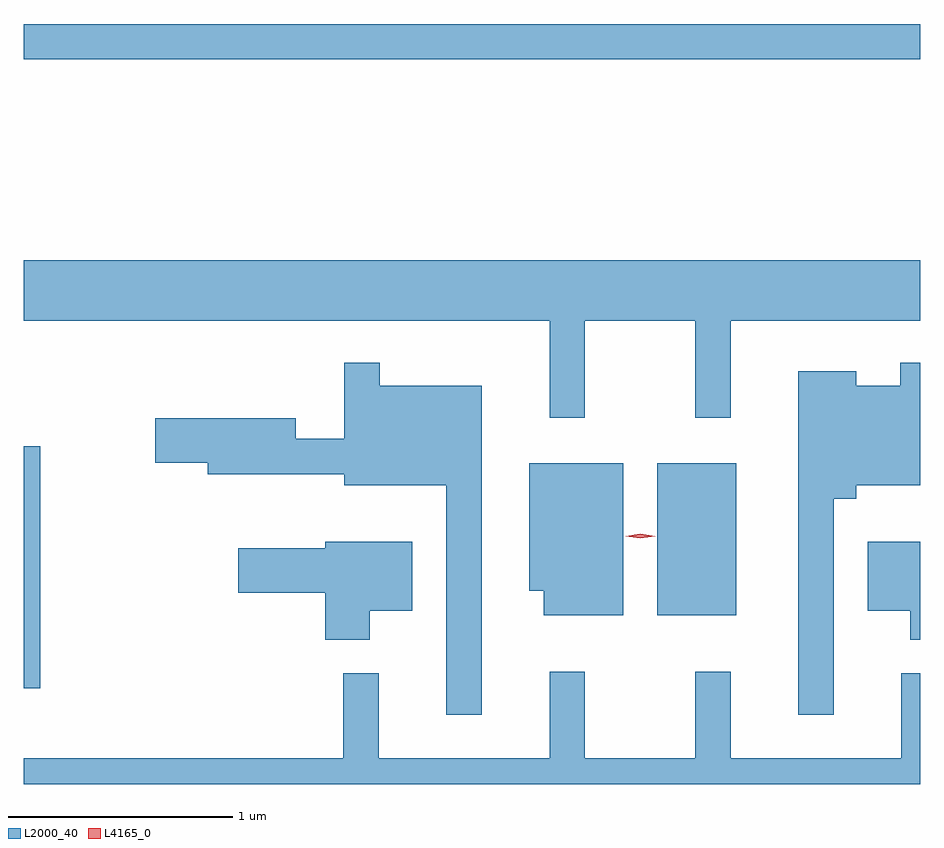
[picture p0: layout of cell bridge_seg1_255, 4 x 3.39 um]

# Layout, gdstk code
import gdstk
lib = gdstk.Library(unit=1e-6, precision=1e-09)
def R(c, l, rs):  # rectangles x0, y0, x1, y1
    for r in rs: c.add(gdstk.rectangle(r[:2], r[2:], *l))
def P(c, l, *ps):  # polygons
    for p in ps: c.add(gdstk.Polygon(p, *l))
L2000_40 = (2000, 40)
L4165_0 = (4165, 0)

bridge_seg1_255 = lib.new_cell('bridge_seg1_255')
R(bridge_seg1_255, L2000_40, [(1002.04,895.716,1002.114,896.794), (1004.866,896.041,1005.219,896.719), (1002.04,898.521,1006.04,898.679)])
P(bridge_seg1_255, L2000_40, [(1004.544,897.356),(1005.036,897.356),(1005.036,896.923),(1005.194,896.923),(1005.194,897.356),(1006.04,897.356),(1006.04,897.624),(1002.04,897.624),(1002.04,897.356),(1004.386,897.356),(1004.386,896.923),(1004.544,896.923)],
  [(1004.084,897.064),(1003.629,897.064),(1003.629,897.168),(1003.471,897.168),(1003.471,896.829),(1003.254,896.829),(1003.254,896.919),(1002.626,896.919),(1002.626,896.721),(1002.861,896.721),(1002.861,896.671),(1003.471,896.671),(1003.471,896.621),(1003.926,896.621),(1003.926,895.598),(1004.084,895.598)],
  [(1005.654,896.561),(1005.754,896.561),(1005.754,896.621),(1006.04,896.621),(1006.04,897.168),(1005.951,897.168),(1005.951,897.064),(1005.754,897.064),(1005.754,897.129),(1005.496,897.129),(1005.496,895.598),(1005.654,895.598)],
  [(1004.714,896.719),(1004.296,896.719),(1004.296,896.151),(1004.361,896.151),(1004.361,896.041),(1004.714,896.041)],
  [(1003.584,896.061),(1003.774,896.061),(1003.774,896.369),(1003.386,896.369),(1003.386,896.339),(1002.996,896.339),(1002.996,896.141),(1003.386,896.141),(1003.386,895.931),(1003.584,895.931)],
  [(1006.04,896.369),(1005.806,896.369),(1005.806,896.061),(1005.996,896.061),(1005.996,895.931),(1006.04,895.931)],
  [(1006.04,895.783),(1005.956,895.783),(1005.956,895.404),(1005.194,895.404),(1005.194,895.788),(1005.036,895.788),(1005.036,895.404),(1004.544,895.404),(1004.544,895.788),(1004.386,895.788),(1004.386,895.404),(1003.624,895.404),(1003.624,895.783),(1003.466,895.783),(1003.466,895.404),(1002.04,895.404),(1002.04,895.288),(1006.04,895.288)])
P(bridge_seg1_255, L4165_0, [(1004.791,896.384),(1004.725,896.393),(1004.724,896.394),(1004.725,896.394),(1004.791,896.404),(1004.857,896.394),(1004.858,896.393),(1004.857,896.393)])

lib.write_gds('bridge_seg1_255.gds')
